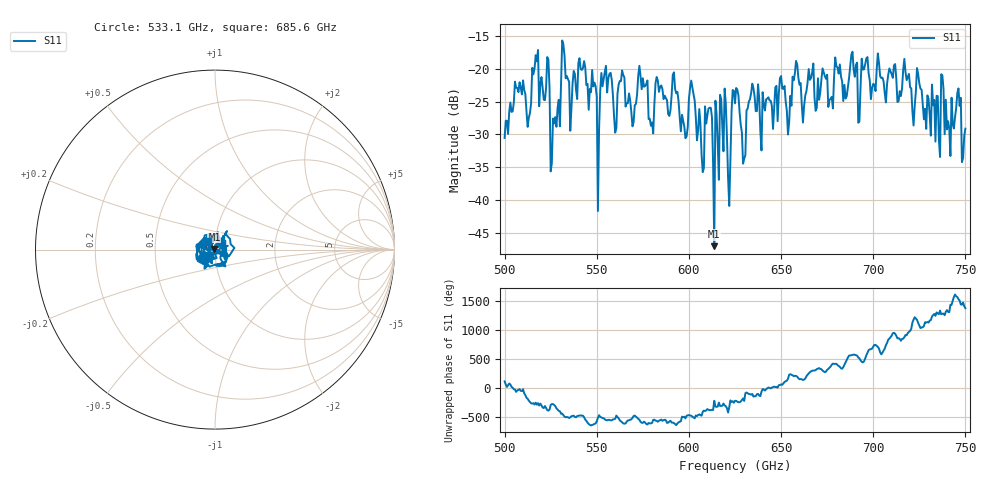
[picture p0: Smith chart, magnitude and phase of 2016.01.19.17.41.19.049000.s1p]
!Created with skrf (http://scikit-rf.org).
# GHz S RI R 50.0
!freq ReS11 ImS11
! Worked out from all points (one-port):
!   401 points, 500 GHz to 750 GHz, reference 50 ohm
!   lowest |S11| = -47.1 dB at 613.8 GHz (marker M1), VSWR 1.01, Z = 49.7 + j0.295 ohm
!   |S11| at or under -10 dB: start of sweep to end of sweep
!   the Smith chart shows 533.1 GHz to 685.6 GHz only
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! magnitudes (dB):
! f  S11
! 500 GHz  -30.5
! 506.9 GHz  -22.9
! 513.1 GHz  -27.4
! 516.9 GHz  -17.9
! 523.1 GHz  -18.2
! 526.2 GHz  -27.6
! 531.2 GHz  -15.6
! 541.9 GHz  -20.1
! 550.6 GHz  -41.7
! 553.8 GHz  -21.5
! 560 GHz  -29.7
! 562.5 GHz  -21.8
! 570 GHz  -28.1
! 576.2 GHz  -22.6
! 579.4 GHz  -28.7
! 583.1 GHz  -21.7
! 593.8 GHz  -23.5
! 611.2 GHz  -25.9
! 613.8 GHz  -47.1
! 618.1 GHz  -28.9
! 621.9 GHz  -40.9
! 625 GHz  -25.2
! 629.4 GHz  -34.5
! 633.8 GHz  -23.7
! 656.2 GHz  -21.2
! 687.5 GHz  -19.5
! 718.8 GHz  -21.2
! 750 GHz  -29.1
